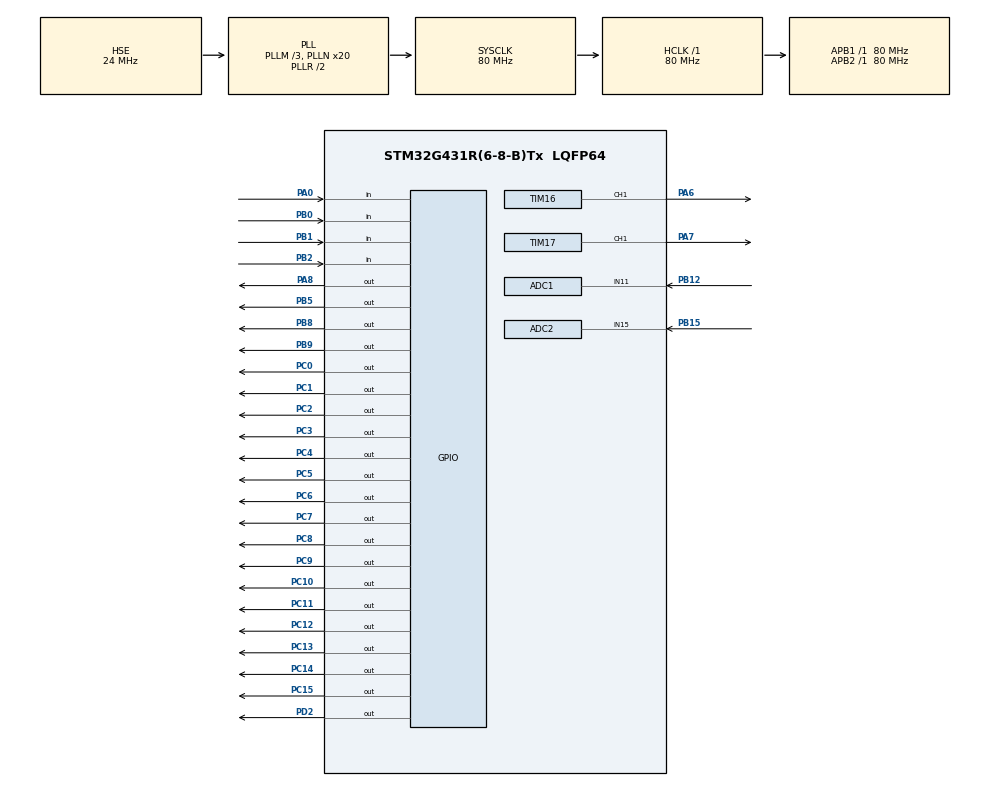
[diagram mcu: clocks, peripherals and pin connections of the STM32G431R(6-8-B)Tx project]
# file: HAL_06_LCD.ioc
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ADC1.Channel-0\#ChannelRegularConversion=ADC_CHANNEL_11
ADC1.NbrOfConversionFlag=1
ADC1.OffsetNumber-0\#ChannelRegularConversion=ADC_OFFSET_NONE
ADC1.Rank-0\#ChannelRegularConversion=1
ADC1.SamplingTime-0\#ChannelRegularConversion=ADC_SAMPLETIME_2CYCLES_5
ADC1.master=1
ADC2.Channel-0\#ChannelRegularConversion=ADC_CHANNEL_15
ADC2.NbrOfConversionFlag=1
ADC2.OffsetNumber-0\#ChannelRegularConversion=ADC_OFFSET_NONE
ADC2.Rank-0\#ChannelRegularConversion=1
ADC2.SamplingTime-0\#ChannelRegularConversion=ADC_SAMPLETIME_2CYCLES_5
Mcu.Family=STM32G4
Mcu.Name=STM32G431R(6-8-B)Tx
Mcu.Package=LQFP64
NVIC.PriorityGroup=NVIC_PRIORITYGROUP_4
NVIC.TIM1_BRK_TIM15_IRQn=true\:0\:0\:false\:false\:true\:true\:true\:true
PA0.Signal=GPIO_Input
PA13.Mode=Serial_Wire
PA13.Signal=SYS_JTMS-SWDIO
PA14.Mode=Serial_Wire
PA14.Signal=SYS_JTCK-SWCLK
PA6.Signal=S_TIM16_CH1
PA7.Signal=S_TIM17_CH1
PA8.Signal=GPIO_Output
PB0.Signal=GPIO_Input
PB1.Signal=GPIO_Input
PB12.Mode=IN11-Single-Ended
PB12.Signal=ADC1_IN11
PB15.Mode=IN15-Single-Ended
PB15.Signal=ADC2_IN15
PB2.Signal=GPIO_Input
PB5.Signal=GPIO_Output
PB8-BOOT0.Signal=GPIO_Output
PB9.Signal=GPIO_Output
PC0.Signal=GPIO_Output
PC1.Signal=GPIO_Output
PC10.Signal=GPIO_Output
PC11.Signal=GPIO_Output
PC12.Signal=GPIO_Output
PC13.Signal=GPIO_Output
PC14-OSC32_IN.Signal=GPIO_Output
PC15-OSC32_OUT.Signal=GPIO_Output
PC2.Signal=GPIO_Output
PC3.Signal=GPIO_Output
PC4.Signal=GPIO_Output
PC5.Signal=GPIO_Output
PC6.Signal=GPIO_Output
PC7.Signal=GPIO_Output
PC8.Signal=GPIO_Output
PC9.Signal=GPIO_Output
PD2.Signal=GPIO_Output
PF0-OSC_IN.Mode=HSE-External-Oscillator
PF0-OSC_IN.Signal=RCC_OSC_IN
PF1-OSC_OUT.Mode=HSE-External-Oscillator
PF1-OSC_OUT.Signal=RCC_OSC_OUT
ProjectManager.HeapSize=0x200
ProjectManager.StackSize=0x400
ProjectManager.TargetToolchain=MDK-ARM V5.27
RCC.ADC12Freq_Value=80000000
RCC.AHBFreq_Value=80000000
RCC.APB1Freq_Value=80000000
RCC.APB1TimFreq_Value=80000000
RCC.APB2Freq_Value=80000000
RCC.APB2TimFreq_Value=80000000
RCC.CortexFreq_Value=80000000
RCC.EXTERNAL_CLOCK_VALUE=12288000
RCC.HCLKFreq_Value=80000000
RCC.HSE_VALUE=24000000
RCC.HSI48_VALUE=48000000
RCC.HSI_VALUE=16000000
RCC.LSE_VALUE=32768
RCC.PLLM=RCC_PLLM_DIV3
RCC.PLLN=20
RCC.PLLSourceVirtual=RCC_PLLSOURCE_HSE
RCC.SYSCLKFreq_VALUE=80000000
RCC.SYSCLKSource=RCC_SYSCLKSOURCE_PLLCLK
RCC.USBFreq_Value=80000000
RCC.VCOOutputFreq_Value=160000000
SH.S_TIM16_CH1.0=TIM16_CH1,PWM Generation1 CH1
SH.S_TIM17_CH1.0=TIM17_CH1,PWM Generation1 CH1
TIM15.AutoReloadPreload=TIM_AUTORELOAD_PRELOAD_ENABLE
TIM15.PeriodNoDither=1000-1
TIM15.Prescaler=80-1
TIM16.AutoReloadPreload=TIM_AUTORELOAD_PRELOAD_ENABLE
TIM16.Channel=TIM_CHANNEL_1
TIM16.PeriodNoDither=100-1
TIM16.Prescaler=8000-1
TIM17.AutoReloadPreload=TIM_AUTORELOAD_PRELOAD_ENABLE
TIM17.Channel=TIM_CHANNEL_1
TIM17.PeriodNoDither=100-1
TIM17.Prescaler=8000-1
VP_SYS_VS_DBSignals.Mode=DisableDeadBatterySignals
VP_TIM15_VS_ClockSourceINT.Mode=Internal
VP_TIM16_VS_ClockSourceINT.Mode=Enable_Timer
VP_TIM17_VS_ClockSourceINT.Mode=Enable_Timer
board=custom

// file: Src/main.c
/* USER CODE BEGIN Header */
/**
  ******************************************************************************
  * @file           : main.c
  * @brief          : Main program body
  ******************************************************************************
  * @attention
  *
  * <h2><center>&copy; Copyright (c) 2021 STMicroelectronics.
  * All rights reserved.</center></h2>
  *
  * This software component is licensed by ST under BSD 3-Clause license,
  * the "License"; You may not use this file except in compliance with the
  * License. You may obtain a copy of the License at:
  *                        opensource.org/licenses/BSD-3-Clause
  *
  ******************************************************************************
  */
/* USER CODE END Header */
#include "main.h"
#include "adc.h"
#include "tim.h"
#include "gpio.h"

/* USER CODE BEGIN Includes */
#include <stdio.h>
/* USER CODE END Includes */

/* USER CODE BEGIN PTD */
struct KEYS{
	_Bool single_flag;
	_Bool sta;

	unsigned char judge_sta;
	unsigned char counter;

}key[4]={0,0,0,0};
/* USER CODE END PTD */

/* USER CODE BEGIN PD */
#define FIFTER_N 0.7

#define PARA 1
#define DATA 0

#define AUTO 1
#define MANU 0

/* USER CODE END PD */

/* USER CODE BEGIN PM */
double adc_value=0.0f;
double adc_value_last=0.0f;

int refer_volt=0;
int pa6_duty=10;
int pa7_duty=10;

_Bool lcd_mode=DATA;
_Bool use_mode=AUTO;
/* USER CODE END PM */

/* USER CODE BEGIN PV */
char lcd_text[20];
/* USER CODE END PV */

void SystemClock_Config(void);

/* USER CODE BEGIN 0 */
void get_adc(){
	unsigned int data=0;
	HAL_ADC_Start(&hadc2);
	HAL_ADC_PollForConversion(&hadc2, 100);
	if(HAL_IS_BIT_SET(HAL_ADC_GetState(&hadc2),HAL_ADC_STATE_REG_EOC))
		data=HAL_ADC_GetValue(&hadc2);
	adc_value=data*3.3/4096;
	adc_value=FIFTER_N*adc_value+(1-FIFTER_N)*adc_value_last;
	adc_value_last=adc_value;

	refer_volt=(int)(adc_value_last*30.8);
}

void key_proc(){
	///B1
	if(key[0].single_flag==1)
	{
		if(lcd_mode==DATA)
			lcd_mode=PARA;
		else
			lcd_mode=DATA;

		key[0].single_flag=0;
	}

	/////B4
	if(key[3].single_flag==1)
	{
		if(use_mode==AUTO)
			use_mode=MANU;
		else
			use_mode=AUTO;

		key[3].single_flag=0;
	}

	////B2
	if(key[1].single_flag==1&&use_mode==MANU&&lcd_mode==PARA)
	{
		if(pa6_duty>=90)
			pa6_duty=10;
		else
			pa6_duty+=10;
		key[1].single_flag=0;
	}

	if(key[1].single_flag==1)
	{
		key[1].single_flag=0;
	}
		////B3
	if(key[2].single_flag==1&&use_mode==MANU&&lcd_mode==PARA)
	{
		if(pa7_duty>=90)
			pa7_duty=10;
		else
			pa7_duty+=10;
		key[2].single_flag=0;
	}

	if(key[2].single_flag==1)
	{
		key[2].single_flag=0;
	}
}
void output_proc(){

	if(use_mode==AUTO)
	{
		if(adc_value==3.25)
		{
			__HAL_TIM_SET_COMPARE(&htim16,TIM_CHANNEL_1,100);
			__HAL_TIM_SET_COMPARE(&htim17,TIM_CHANNEL_1,100);
		}
		else if(adc_value==0)
		{
			__HAL_TIM_SET_COMPARE(&htim16,TIM_CHANNEL_1,0);
			__HAL_TIM_SET_COMPARE(&htim17,TIM_CHANNEL_1,0);
		}
		else
		{
			__HAL_TIM_SET_COMPARE(&htim16,TIM_CHANNEL_1,refer_volt);
			__HAL_TIM_SET_COMPARE(&htim17,TIM_CHANNEL_1,refer_volt);
		}
	}
	else
	{
		__HAL_TIM_SET_COMPARE(&htim16,TIM_CHANNEL_1,pa6_duty);
		__HAL_TIM_SET_COMPARE(&htim17,TIM_CHANNEL_1,pa7_duty);
	}

}

void lcd_proc(){
	if(lcd_mode==DATA)
	{
		sprintf(lcd_text,"      Data               ");
		LCD_DisplayStringLine(Line0 ,(unsigned char *)lcd_text);

		sprintf(lcd_text,"    V:%.2f               ",adc_value);
		LCD_DisplayStringLine(Line2 ,(unsigned char *)lcd_text);

		if(use_mode==AUTO)
			sprintf(lcd_text,"    Mode:AUTO               ");
		else
			sprintf(lcd_text,"    Mode:MANU               ");
		LCD_DisplayStringLine(Line4 ,(unsigned char *)lcd_text);
	}
	else
	{
		sprintf(lcd_text,"      Para               ");
		LCD_DisplayStringLine(Line0 ,(unsigned char *)lcd_text);

		sprintf(lcd_text,"    PA6:%d%%               ",pa6_duty);
		LCD_DisplayStringLine(Line2 ,(unsigned char *)lcd_text);

		sprintf(lcd_text,"    PA7:%d%%               ",pa7_duty);
		LCD_DisplayStringLine(Line4 ,(unsigned char *)lcd_text);
	}

	///////////test
//	sprintf(lcd_text,"    refer_volt:%d   ",refer_volt);
//	LCD_DisplayStringLine(Line9 ,(unsigned char *)lcd_text);

}

void led_proc(){
	HAL_GPIO_WritePin(GPIOD, GPIO_PIN_2, GPIO_PIN_SET);
	HAL_GPIO_WritePin(GPIOC, GPIO_PIN_13|GPIO_PIN_14|GPIO_PIN_15|
                          GPIO_PIN_10|GPIO_PIN_11|GPIO_PIN_12, GPIO_PIN_SET);
	HAL_GPIO_WritePin(GPIOD, GPIO_PIN_2, GPIO_PIN_RESET);

	if(use_mode==AUTO)
	{
		HAL_GPIO_WritePin(GPIOD, GPIO_PIN_2, GPIO_PIN_SET);
		HAL_GPIO_WritePin(GPIOC, GPIO_PIN_8, GPIO_PIN_RESET);
		HAL_GPIO_WritePin(GPIOD, GPIO_PIN_2, GPIO_PIN_RESET);

	}
	else
	{
		HAL_GPIO_WritePin(GPIOD, GPIO_PIN_2, GPIO_PIN_SET);
		HAL_GPIO_WritePin(GPIOC, GPIO_PIN_8, GPIO_PIN_SET);
		HAL_GPIO_WritePin(GPIOD, GPIO_PIN_2, GPIO_PIN_RESET);
	}

	if(lcd_mode==DATA)
	{
		HAL_GPIO_WritePin(GPIOD, GPIO_PIN_2, GPIO_PIN_SET);
		HAL_GPIO_WritePin(GPIOC, GPIO_PIN_9, GPIO_PIN_RESET);
		HAL_GPIO_WritePin(GPIOD, GPIO_PIN_2, GPIO_PIN_RESET);

	}
	else
	{
		HAL_GPIO_WritePin(GPIOD, GPIO_PIN_2, GPIO_PIN_SET);
		HAL_GPIO_WritePin(GPIOC, GPIO_PIN_9, GPIO_PIN_SET);
		HAL_GPIO_WritePin(GPIOD, GPIO_PIN_2, GPIO_PIN_RESET);
	}

}
/* USER CODE END 0 */

int main(void)
{

  /* MCU Configuration--------------------------------------------------------*/

  /* Reset of all peripherals, Initializes the Flash interface and the Systick. */
  HAL_Init();

  /* Configure the system clock */
  SystemClock_Config();

  /* Initialize all configured peripherals */
  MX_GPIO_Init();
  MX_TIM15_Init();
  MX_TIM16_Init();
  MX_TIM17_Init();
  MX_ADC1_Init();
  MX_ADC2_Init();
  /* USER CODE BEGIN 2 */
	HAL_TIM_Base_Start_IT(&htim15);

	HAL_TIM_PWM_Start(&htim16, TIM_CHANNEL_1);
	HAL_TIM_PWM_Start(&htim17, TIM_CHANNEL_1);

	__HAL_TIM_SET_COMPARE(&htim16,TIM_CHANNEL_1,10);
	__HAL_TIM_SET_COMPARE(&htim17,TIM_CHANNEL_1,10);

	LCD_Init();
  /* USER CODE END 2 */

  /* Infinite loop */
  /* USER CODE BEGIN WHILE */

	LCD_Clear(Black);
	LCD_SetBackColor(Black);
	LCD_SetTextColor(White);

  while (1)
  {
    /* USER CODE END WHILE */

    /* USER CODE BEGIN 3 */
		get_adc();
		key_proc();
		output_proc();
		lcd_proc();
		led_proc();
  }
  /* USER CODE END 3 */
}

void SystemClock_Config(void)
{
  RCC_OscInitTypeDef RCC_OscInitStruct = {0};
  RCC_ClkInitTypeDef RCC_ClkInitStruct = {0};

  /** Configure the main internal regulator output voltage
  */
  HAL_PWREx_ControlVoltageScaling(PWR_REGULATOR_VOLTAGE_SCALE1);

  /** Initializes the RCC Oscillators according to the specified parameters
  * in the RCC_OscInitTypeDef structure.
  */
  RCC_OscInitStruct.OscillatorType = RCC_OSCILLATORTYPE_HSE;
  RCC_OscInitStruct.HSEState = RCC_HSE_ON;
  RCC_OscInitStruct.PLL.PLLState = RCC_PLL_ON;
  RCC_OscInitStruct.PLL.PLLSource = RCC_PLLSOURCE_HSE;
  RCC_OscInitStruct.PLL.PLLM = RCC_PLLM_DIV3;
  RCC_OscInitStruct.PLL.PLLN = 20;
  RCC_OscInitStruct.PLL.PLLP = RCC_PLLP_DIV2;
  RCC_OscInitStruct.PLL.PLLQ = RCC_PLLQ_DIV2;
  RCC_OscInitStruct.PLL.PLLR = RCC_PLLR_DIV2;
  if (HAL_RCC_OscConfig(&RCC_OscInitStruct) != HAL_OK)
  {
    Error_Handler();
  }

  /** Initializes the CPU, AHB and APB buses clocks
  */
  RCC_ClkInitStruct.ClockType = RCC_CLOCKTYPE_HCLK|RCC_CLOCKTYPE_SYSCLK
                              |RCC_CLOCKTYPE_PCLK1|RCC_CLOCKTYPE_PCLK2;
  RCC_ClkInitStruct.SYSCLKSource = RCC_SYSCLKSOURCE_PLLCLK;
  RCC_ClkInitStruct.AHBCLKDivider = RCC_SYSCLK_DIV1;
  RCC_ClkInitStruct.APB1CLKDivider = RCC_HCLK_DIV1;
  RCC_ClkInitStruct.APB2CLKDivider = RCC_HCLK_DIV1;

  if (HAL_RCC_ClockConfig(&RCC_ClkInitStruct, FLASH_LATENCY_2) != HAL_OK)
  {
    Error_Handler();
  }
}

/* USER CODE BEGIN 4 */
int key_time=0;
void HAL_TIM_PeriodElapsedCallback(TIM_HandleTypeDef *htim)
{
	if(htim->Instance==TIM15)
	{
		key[0].sta=HAL_GPIO_ReadPin(GPIOB,GPIO_PIN_0);
		key[1].sta=HAL_GPIO_ReadPin(GPIOB,GPIO_PIN_1);
		key[2].sta=HAL_GPIO_ReadPin(GPIOB,GPIO_PIN_2);
		key[3].sta=HAL_GPIO_ReadPin(GPIOA,GPIO_PIN_0);

		if(key_time>=65)
		{
			for(int i=0;i<4;i++)
			{
				switch(key[i].judge_sta)
				{
					case 0:
					{
						if(key[i].sta==0)
							key[i].judge_sta=1;
					}break;
					case 1:
					{
						if(key[i].sta==0)
							key[i].single_flag=1;
						else
							key[i].judge_sta=0;
					}break;
				}
			}
			key_time=0;
		}
		else
			key_time++;

	}

}
/* USER CODE END 4 */

void Error_Handler(void)
{
}
